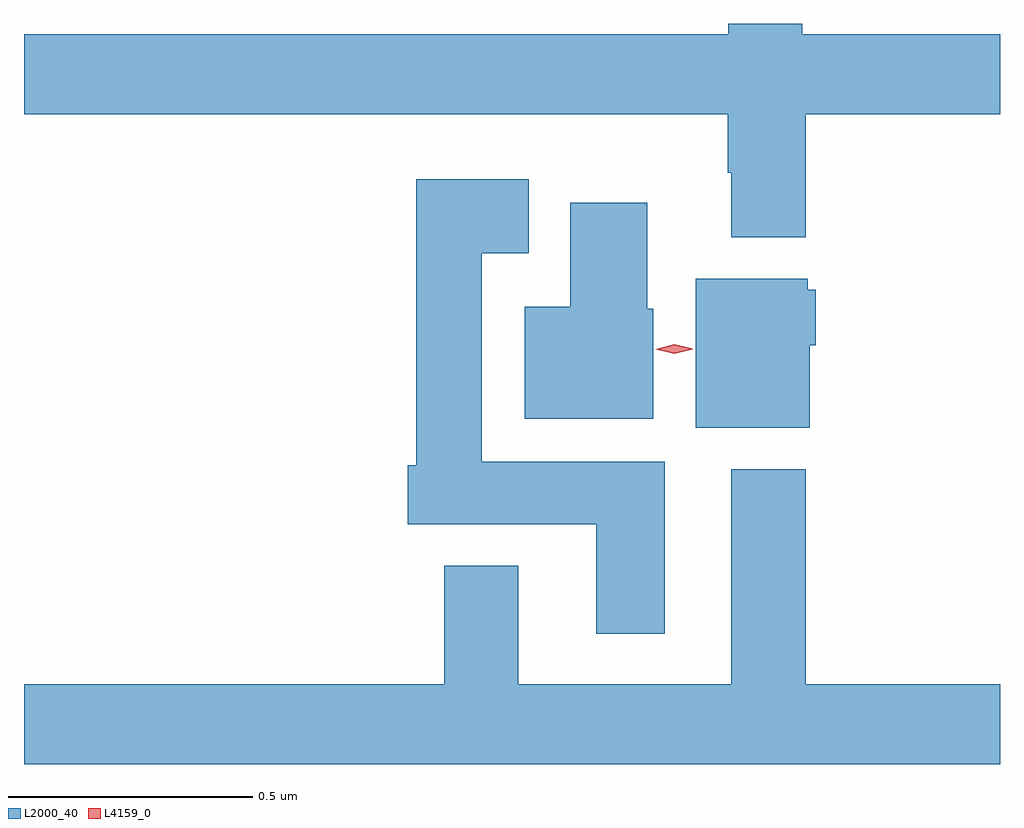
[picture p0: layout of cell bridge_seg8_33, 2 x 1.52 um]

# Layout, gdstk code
import gdstk
lib = gdstk.Library(unit=1e-6, precision=1e-09)
def P(c, l, *ps):  # polygons
    for p in ps: c.add(gdstk.Polygon(p, *l))
L2000_40 = (2000, 40)
L4159_0 = (4159, 0)

bridge_seg8_33 = lib.new_cell('bridge_seg8_33')
P(bridge_seg8_33, L2000_40, [(1085.45,1128.488),(1085.848,1128.488),(1085.848,1128.652),(1085.443,1128.652),(1085.443,1128.674),(1085.291,1128.674),(1085.291,1128.652),(1083.848,1128.652),(1083.848,1128.488),(1085.29,1128.488),(1085.29,1128.368),(1085.297,1128.368),(1085.297,1128.236),(1085.45,1128.236)],
  [(1085.161,1127.776),(1084.786,1127.776),(1084.786,1128.203),(1084.882,1128.203),(1084.882,1128.355),(1084.652,1128.355),(1084.652,1127.769),(1084.634,1127.769),(1084.634,1127.648),(1085.021,1127.648),(1085.021,1127.424),(1085.161,1127.424)],
  [(1085.137,1128.09),(1085.125,1128.09),(1085.125,1128.307),(1084.967,1128.307),(1084.967,1128.094),(1084.874,1128.094),(1084.874,1127.864),(1085.137,1127.864)],
  [(1085.458,1128.015),(1085.47,1128.015),(1085.47,1128.129),(1085.454,1128.129),(1085.454,1128.151),(1085.225,1128.151),(1085.225,1127.846),(1085.458,1127.846)],
  [(1085.848,1127.32),(1085.45,1127.32),(1085.45,1127.761),(1085.297,1127.761),(1085.297,1127.32),(1084.861,1127.32),(1084.861,1127.563),(1084.709,1127.563),(1084.709,1127.32),(1083.848,1127.32),(1083.848,1127.156),(1085.848,1127.156)])
P(bridge_seg8_33, L4159_0, [(1085.18,1127.997),(1085.143,1128.007),(1085.143,1128.007),(1085.143,1128.007),(1085.18,1128.017),(1085.218,1128.008),(1085.218,1128.008),(1085.218,1128.007)])

lib.write_gds('bridge_seg8_33.gds')
